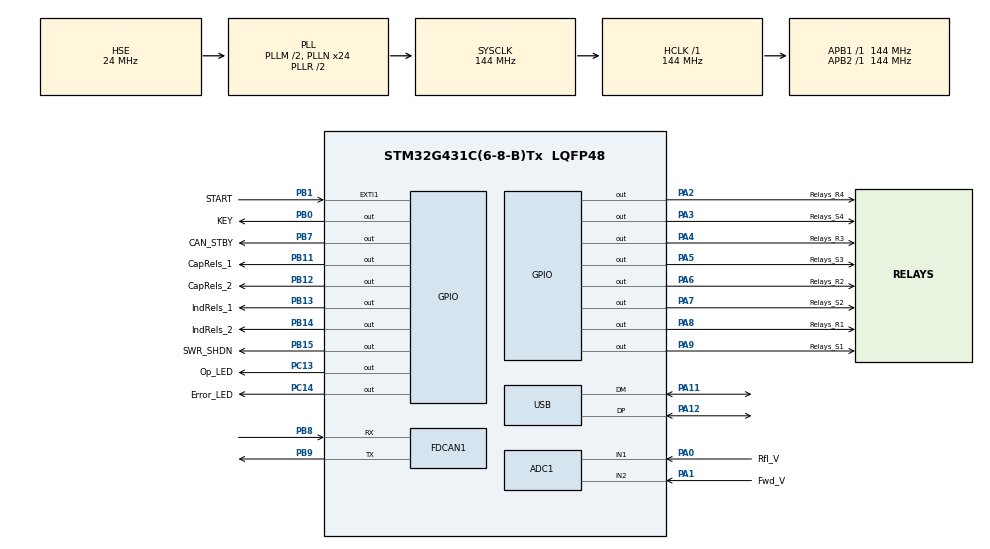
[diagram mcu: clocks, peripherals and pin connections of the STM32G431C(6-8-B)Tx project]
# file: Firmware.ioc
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ADC1.Channel-4\#ChannelRegularConversion=ADC_CHANNEL_VREFINT
ADC1.Channel-5\#ChannelRegularConversion=ADC_CHANNEL_1
ADC1.Channel-6\#ChannelRegularConversion=ADC_CHANNEL_2
ADC1.Channel-7\#ChannelRegularConversion=ADC_CHANNEL_TEMPSENSOR_ADC1
ADC1.ContinuousConvMode=DISABLE
ADC1.EOCSelection=ADC_EOC_SEQ_CONV
ADC1.EnableRegularConversion=ENABLE
ADC1.ExternalTrigConv=ADC_EXTERNALTRIG_T1_TRGO
ADC1.NbrOfConversion=4
ADC1.NbrOfConversionFlag=1
ADC1.OffsetNumber-4\#ChannelRegularConversion=ADC_OFFSET_NONE
ADC1.OffsetNumber-5\#ChannelRegularConversion=ADC_OFFSET_NONE
ADC1.OffsetNumber-6\#ChannelRegularConversion=ADC_OFFSET_NONE
ADC1.OffsetNumber-7\#ChannelRegularConversion=ADC_OFFSET_NONE
ADC1.OversamplingMode=ENABLE
ADC1.Rank-4\#ChannelRegularConversion=1
ADC1.Rank-5\#ChannelRegularConversion=2
ADC1.Rank-6\#ChannelRegularConversion=3
ADC1.Rank-7\#ChannelRegularConversion=4
ADC1.Ratio=ADC_OVERSAMPLING_RATIO_4
ADC1.SamplingTime-4\#ChannelRegularConversion=ADC_SAMPLETIME_2CYCLES_5
ADC1.SamplingTime-5\#ChannelRegularConversion=ADC_SAMPLETIME_2CYCLES_5
ADC1.SamplingTime-6\#ChannelRegularConversion=ADC_SAMPLETIME_2CYCLES_5
ADC1.SamplingTime-7\#ChannelRegularConversion=ADC_SAMPLETIME_2CYCLES_5
ADC1.master=1
Dma.ADC1.0.Direction=DMA_PERIPH_TO_MEMORY
Dma.ADC1.0.EventEnable=DISABLE
Dma.ADC1.0.Instance=DMA1_Channel1
Dma.ADC1.0.MemDataAlignment=DMA_MDATAALIGN_HALFWORD
Dma.ADC1.0.MemInc=DMA_MINC_ENABLE
Dma.ADC1.0.Mode=DMA_CIRCULAR
Dma.ADC1.0.PeriphDataAlignment=DMA_PDATAALIGN_HALFWORD
Dma.ADC1.0.PeriphInc=DMA_PINC_DISABLE
Dma.ADC1.0.Polarity=HAL_DMAMUX_REQ_GEN_RISING
Dma.ADC1.0.Priority=DMA_PRIORITY_LOW
Dma.ADC1.0.RequestNumber=1
Dma.ADC1.0.SignalID=NONE
Dma.ADC1.0.SyncEnable=DISABLE
Dma.ADC1.0.SyncPolarity=HAL_DMAMUX_SYNC_NO_EVENT
Dma.ADC1.0.SyncRequestNumber=1
Dma.ADC1.0.SyncSignalID=NONE
Dma.Request0=ADC1
FDCAN1.AutoRetransmission=ENABLE
FDCAN1.CalculateBaudRateNominal=500000
FDCAN1.CalculateTimeBitNominal=2000
FDCAN1.CalculateTimeQuantumNominal=62.5
FDCAN1.DataPrescaler=25
FDCAN1.DataTimeSeg1=2
FDCAN1.FrameFormat=FDCAN_FRAME_FD_NO_BRS
FDCAN1.NominalPrescaler=9
FDCAN1.NominalSyncJumpWidth=13
FDCAN1.NominalTimeSeg1=21
FDCAN1.NominalTimeSeg2=10
FDCAN1.StdFiltersNbr=1
FDCAN1.TxFifoQueueMode=FDCAN_TX_QUEUE_OPERATION
Mcu.Family=STM32G4
Mcu.Name=STM32G431C(6-8-B)Tx
Mcu.Package=LQFP48
NVIC.DMA1_Channel1_IRQn=true\:0\:0\:false\:false\:true\:false\:true\:true
NVIC.EXTI1_IRQn=true\:0\:0\:false\:false\:true\:true\:true\:true
NVIC.PriorityGroup=NVIC_PRIORITYGROUP_4
NVIC.USB_LP_IRQn=true\:0\:0\:false\:false\:true\:false\:true\:true
PA0.GPIO_Label=Rfl_V
PA0.Mode=IN1-Single-Ended
PA0.Signal=ADC1_IN1
PA1.GPIO_Label=Fwd_V
PA1.Mode=IN2-Single-Ended
PA1.Signal=ADC1_IN2
PA11.Mode=Device
PA11.Signal=USB_DM
PA12.Mode=Device
PA12.Signal=USB_DP
PA13.Mode=Trace_Asynchronous_SW
PA13.Signal=SYS_JTMS-SWDIO
PA14.Mode=Trace_Asynchronous_SW
PA14.Signal=SYS_JTCK-SWCLK
PA2.GPIO_Label=Relays_R4
PA2.GPIO_Speed=GPIO_SPEED_FREQ_LOW
PA2.Signal=GPIO_Output
PA3.GPIO_Label=Relays_S4
PA3.Signal=GPIO_Output
PA4.GPIO_Label=Relays_R3
PA4.Signal=GPIO_Output
PA5.GPIO_Label=Relays_S3
PA5.Signal=GPIO_Output
PA6.GPIO_Label=Relays_R2
PA6.Signal=GPIO_Output
PA7.GPIO_Label=Relays_S2
PA7.Signal=GPIO_Output
PA8.GPIO_Label=Relays_R1
PA8.Signal=GPIO_Output
PA9.GPIO_Label=Relays_S1
PA9.Signal=GPIO_Output
PB0.GPIO_Label=KEY
PB0.Signal=GPIO_Output
PB1.GPIO_Label=START
PB1.GPIO_ModeDefaultEXTI=GPIO_MODE_IT_FALLING
PB1.Signal=GPXTI1
PB11.GPIO_Label=CapRels_1
PB11.Signal=GPIO_Output
PB12.GPIO_Label=CapRels_2
PB12.Signal=GPIO_Output
PB13.GPIO_Label=IndRels_1
PB13.Signal=GPIO_Output
PB14.GPIO_Label=IndRels_2
PB14.Signal=GPIO_Output
PB15.GPIO_Label=SWR_SHDN
PB15.Signal=GPIO_Output
PB3.Mode=Trace_Asynchronous_SW
PB3.Signal=SYS_JTDO-SWO
PB7.GPIO_Label=CAN_STBY
PB7.Signal=GPIO_Output
PB8-BOOT0.Mode=FDCAN_Activate
PB8-BOOT0.Signal=FDCAN1_RX
PB9.Mode=FDCAN_Activate
PB9.Signal=FDCAN1_TX
PC13.GPIO_Label=Op_LED
PC13.Signal=GPIO_Output
PC14-OSC32_IN.GPIO_Label=Error_LED
PC14-OSC32_IN.Signal=GPIO_Output
PF0-OSC_IN.Mode=HSE-External-Oscillator
PF0-OSC_IN.Signal=RCC_OSC_IN
PF1-OSC_OUT.Mode=HSE-External-Oscillator
PF1-OSC_OUT.Signal=RCC_OSC_OUT
ProjectManager.HeapSize=0x200
ProjectManager.StackSize=0x400
ProjectManager.TargetToolchain=Makefile
RCC.ADC12Freq_Value=144000000
RCC.AHBFreq_Value=144000000
RCC.APB1Freq_Value=144000000
RCC.APB1TimFreq_Value=144000000
RCC.APB2Freq_Value=144000000
RCC.APB2TimFreq_Value=144000000
RCC.CortexFreq_Value=144000000
RCC.EXTERNAL_CLOCK_VALUE=12288000
RCC.HCLKFreq_Value=144000000
RCC.HSE_VALUE=24000000
RCC.HSI48_VALUE=48000000
RCC.HSI_VALUE=16000000
RCC.LSE_VALUE=32768
RCC.PLLM=RCC_PLLM_DIV2
RCC.PLLN=24
RCC.PLLQ=RCC_PLLQ_DIV6
RCC.PLLSourceVirtual=RCC_PLLSOURCE_HSE
RCC.SYSCLKFreq_VALUE=144000000
RCC.SYSCLKSource=RCC_SYSCLKSOURCE_PLLCLK
RCC.USBFreq_Value=48000000
RCC.VCOOutputFreq_Value=288000000
TIM1.AutoReloadPreload=TIM_AUTORELOAD_PRELOAD_ENABLE
TIM1.CounterMode=TIM_COUNTERMODE_DOWN
TIM1.PeriodNoDither=7200
TIM1.Prescaler=1000
TIM1.TIM_MasterOutputTrigger=TIM_TRGO_UPDATE
USB.Sof_enable=DISABLE
USB_DEVICE.CLASS_NAME_FS=CDC
USB_DEVICE.VirtualMode=Cdc
USB_DEVICE.VirtualModeFS=Cdc_FS
VP_ADC1_TempSens_Input.Mode=IN-TempSens
VP_ADC1_Vref_Input.Mode=IN-Vrefint
VP_CORDIC_VS_CORDIC.Mode=CORDIC_Activate
VP_FMAC_VS_FMAC.Mode=FMAC_Activate
VP_SYS_VS_DBSignals.Mode=DisableDeadBatterySignals
VP_SYS_V_VREFBUF.Mode=HoldMode
VP_TIM1_VS_ClockSourceINT.Mode=Internal
VP_USB_DEVICE_VS_USB_DEVICE_CDC_FS.Mode=CDC_FS
board=custom

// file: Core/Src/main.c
/* USER CODE BEGIN Header */
/**
  ******************************************************************************
  * @file           : main.c
  * @brief          : Main program body
  ******************************************************************************
  * @attention
  *
  * Copyright (c) 2024 STMicroelectronics.
  * All rights reserved.
  *
  * This software is licensed under terms that can be found in the LICENSE file
  * in the root directory of this software component.
  * If no LICENSE file comes with this software, it is provided AS-IS.
  *
  ******************************************************************************
  */
/* USER CODE END Header */
#include "main.h"
#include "usb_device.h"

/* USER CODE BEGIN Includes */
#include "usb_redirect.h"
#include "usbd_cdc_if.h"

#include "latching_relays.h"
#include "ltc5507.h"

/* USER CODE END Includes */

ADC_HandleTypeDef hadc1;
DMA_HandleTypeDef hdma_adc1;

CORDIC_HandleTypeDef hcordic;

FDCAN_HandleTypeDef hfdcan1;

FMAC_HandleTypeDef hfmac;

TIM_HandleTypeDef htim1;

/* USER CODE BEGIN PV */
relay_t Cap_InOut = {Relays_R1_GPIO_Port, CapRels_1_GPIO_Port, Relays_S1_Pin, Relays_R1_Pin, CapRels_1_Pin} ;

relay_t Cap_K402 = {Relays_R1_GPIO_Port, CapRels_1_GPIO_Port, Relays_S2_Pin, Relays_R2_Pin, CapRels_1_Pin} ;
relay_t Cap_K403 = {Relays_R1_GPIO_Port, CapRels_1_GPIO_Port, Relays_S3_Pin, Relays_R3_Pin, CapRels_1_Pin} ;
relay_t Cap_K404 = {Relays_R1_GPIO_Port, CapRels_1_GPIO_Port, Relays_S4_Pin, Relays_R4_Pin, CapRels_1_Pin} ;
relay_t Cap_K405 = {Relays_R1_GPIO_Port, CapRels_2_GPIO_Port, Relays_S1_Pin, Relays_R1_Pin, CapRels_2_Pin} ;
relay_t Cap_K406 = {Relays_R1_GPIO_Port, CapRels_2_GPIO_Port, Relays_S2_Pin, Relays_R2_Pin, CapRels_2_Pin} ;
relay_t Cap_K407 = {Relays_R1_GPIO_Port, CapRels_2_GPIO_Port, Relays_S3_Pin, Relays_R3_Pin, CapRels_2_Pin} ;
relay_t Cap_K408 = {Relays_R1_GPIO_Port, CapRels_2_GPIO_Port, Relays_S4_Pin, Relays_R4_Pin, CapRels_2_Pin} ;

relay_t Ind_K501 = {Relays_R1_GPIO_Port, IndRels_1_GPIO_Port, Relays_S1_Pin, Relays_R1_Pin, IndRels_1_Pin} ;
relay_t Ind_K502 = {Relays_R1_GPIO_Port, IndRels_1_GPIO_Port, Relays_S2_Pin, Relays_R2_Pin, IndRels_1_Pin} ;
relay_t Ind_K503 = {Relays_R1_GPIO_Port, IndRels_1_GPIO_Port, Relays_S3_Pin, Relays_R3_Pin, IndRels_1_Pin} ;
relay_t Ind_K504 = {Relays_R1_GPIO_Port, IndRels_1_GPIO_Port, Relays_S4_Pin, Relays_R4_Pin, IndRels_1_Pin} ;
relay_t Ind_K505 = {Relays_R1_GPIO_Port, IndRels_2_GPIO_Port, Relays_S1_Pin, Relays_R1_Pin, IndRels_2_Pin} ;
relay_t Ind_K506 = {Relays_R1_GPIO_Port, IndRels_2_GPIO_Port, Relays_S2_Pin, Relays_R2_Pin, IndRels_2_Pin} ;
relay_t Ind_K507 = {Relays_R1_GPIO_Port, IndRels_2_GPIO_Port, Relays_S3_Pin, Relays_R3_Pin, IndRels_2_Pin} ;

volatile uint16_t adc_data[4] ;

uint16_t rf_fwd_mv ;
uint16_t rf_rfl_mv ;
uint16_t ref_volt ;
uint16_t int_temp ;
/* USER CODE END PV */

void SystemClock_Config(void);
static void MX_GPIO_Init(void);
static void MX_DMA_Init(void);
static void MX_ADC1_Init(void);
static void MX_CORDIC_Init(void);
static void MX_FDCAN1_Init(void);
static void MX_FMAC_Init(void);
static void MX_TIM1_Init(void);

/* USER CODE BEGIN 0 */
uint8_t getActiveBank() {
    volatile uint32_t remap = READ_BIT(SYSCFG->MEMRMP, 0x1 << 8);
    return remap == 0 ? 1 : 2;
}

/* USER CODE END 0 */

int main(void)
{

  /* USER CODE BEGIN 1 */
  FDCAN_TxHeaderTypeDef can_header ;
  FDCAN_FilterTypeDef can_filter ;

  /* USER CODE END 1 */

  /* MCU Configuration--------------------------------------------------------*/

  /* Reset of all peripherals, Initializes the Flash interface and the Systick. */
  HAL_Init();

  /* Configure the system clock */
  SystemClock_Config();

  /* Initialize all configured peripherals */
  MX_GPIO_Init();
  MX_DMA_Init();
  MX_ADC1_Init();
  MX_CORDIC_Init();
  MX_FDCAN1_Init();
  MX_FMAC_Init();
  MX_USB_Device_Init();
  MX_TIM1_Init();
  /* USER CODE BEGIN 2 */

  HAL_ADCEx_Calibration_Start(&hadc1, ADC_SINGLE_ENDED) ;
  HAL_GPIO_WritePin(Op_LED_GPIO_Port, Op_LED_Pin, GPIO_PIN_RESET) ;
  HAL_GPIO_WritePin(Error_LED_GPIO_Port, Error_LED_Pin, GPIO_PIN_SET) ;

  // Turn off all relays signal
  GPIO_TypeDef * Relays_Port = Relays_R1_GPIO_Port ;
  uint16_t All_Relays = Relays_S1_Pin | Relays_R1_Pin | Relays_S2_Pin | Relays_S3_Pin | Relays_R3_Pin | Relays_S4_Pin | Relays_R4_Pin ;

  GPIO_TypeDef * Relays_Power_Port = IndRels_1_GPIO_Port ;
  uint16_t All_Power = IndRels_1_Pin | IndRels_2_Pin | CapRels_1_Pin | CapRels_2_Pin ;

  Relays_Port->BRR = All_Relays ;
  Relays_Power_Port->BRR = All_Power ;

  // Shutdown all devices
  HAL_GPIO_WritePin(SWR_SHDN_GPIO_Port, SWR_SHDN_Pin, GPIO_PIN_SET) ; // Shutdown SWR meter
  HAL_GPIO_WritePin(CAN_STBY_GPIO_Port, CAN_STBY_Pin, GPIO_PIN_RESET) ; // Shutdown CAN transceiver

  HAL_GPIO_WritePin(KEY_GPIO_Port, KEY_Pin, GPIO_PIN_RESET) ; // Disable KEY signal

  can_filter.IdType = FDCAN_STANDARD_ID ;
  can_filter.FilterIndex = 0 ;
  can_filter.FilterType = FDCAN_FILTER_MASK ;
  can_filter.FilterConfig = FDCAN_FILTER_TO_RXFIFO0 ;
  can_filter.FilterID1 = 0x11 ;
  can_filter.FilterID1 = 0x11 ;

  if(HAL_FDCAN_ConfigFilter(&hfdcan1, &can_filter) != HAL_OK) Error_Handler() ;

  uint32_t Caps[] = {12, 22, 47, 100, 220, 470, 100}  ; // pF
  uint32_t Inds[] = {505, 1000, 2200, 5000, 10000, 23000, 44700} ; // 0.1 nH

  /* USER CODE END 2 */

  /* Infinite loop */
  /* USER CODE BEGIN WHILE */
  HAL_Delay(500) ;
  printf("Turn off 'Err' LED\n") ;
  HAL_GPIO_WritePin(Error_LED_GPIO_Port, Error_LED_Pin, GPIO_PIN_RESET) ;
  uint8_t fw_bank = getActiveBank() ;
  printf("Current FW bank: %d", fw_bank) ;

  HAL_GPIO_WritePin(SWR_SHDN_GPIO_Port, SWR_SHDN_Pin, GPIO_PIN_RESET) ; // Enable SWR meter
  HAL_GPIO_WritePin(CAN_STBY_GPIO_Port, CAN_STBY_Pin, GPIO_PIN_SET) ; // Enable CAN transceiver

  // Start ADC cyclic conversion
  HAL_TIM_Base_Init(&htim1) ;
  HAL_ADC_Start_DMA(&hadc1, (uint32_t *) adc_data, 4) ;

  while (1)
  {
    /* USER CODE END WHILE */

  }
}

void SystemClock_Config(void)
{
  RCC_OscInitTypeDef RCC_OscInitStruct = {0};
  RCC_ClkInitTypeDef RCC_ClkInitStruct = {0};

  /** Configure the main internal regulator output voltage
  */
  HAL_PWREx_ControlVoltageScaling(PWR_REGULATOR_VOLTAGE_SCALE1);

  /** Initializes the RCC Oscillators according to the specified parameters
  * in the RCC_OscInitTypeDef structure.
  */
  RCC_OscInitStruct.OscillatorType = RCC_OSCILLATORTYPE_HSE;
  RCC_OscInitStruct.HSEState = RCC_HSE_ON;
  RCC_OscInitStruct.PLL.PLLState = RCC_PLL_ON;
  RCC_OscInitStruct.PLL.PLLSource = RCC_PLLSOURCE_HSE;
  RCC_OscInitStruct.PLL.PLLM = RCC_PLLM_DIV2;
  RCC_OscInitStruct.PLL.PLLN = 24;
  RCC_OscInitStruct.PLL.PLLP = RCC_PLLP_DIV2;
  RCC_OscInitStruct.PLL.PLLQ = RCC_PLLQ_DIV6;
  RCC_OscInitStruct.PLL.PLLR = RCC_PLLR_DIV2;
  if (HAL_RCC_OscConfig(&RCC_OscInitStruct) != HAL_OK)
  {
    Error_Handler();
  }

  /** Initializes the CPU, AHB and APB buses clocks
  */
  RCC_ClkInitStruct.ClockType = RCC_CLOCKTYPE_HCLK|RCC_CLOCKTYPE_SYSCLK
                              |RCC_CLOCKTYPE_PCLK1|RCC_CLOCKTYPE_PCLK2;
  RCC_ClkInitStruct.SYSCLKSource = RCC_SYSCLKSOURCE_PLLCLK;
  RCC_ClkInitStruct.AHBCLKDivider = RCC_SYSCLK_DIV1;
  RCC_ClkInitStruct.APB1CLKDivider = RCC_HCLK_DIV1;
  RCC_ClkInitStruct.APB2CLKDivider = RCC_HCLK_DIV1;

  if (HAL_RCC_ClockConfig(&RCC_ClkInitStruct, FLASH_LATENCY_4) != HAL_OK)
  {
    Error_Handler();
  }
}

static void MX_ADC1_Init(void)
{

  ADC_MultiModeTypeDef multimode = {0};
  ADC_ChannelConfTypeDef sConfig = {0};

  /** Common config
  */
  hadc1.Instance = ADC1;
  hadc1.Init.ClockPrescaler = ADC_CLOCK_SYNC_PCLK_DIV4;
  hadc1.Init.Resolution = ADC_RESOLUTION_12B;
  hadc1.Init.DataAlign = ADC_DATAALIGN_RIGHT;
  hadc1.Init.GainCompensation = 0;
  hadc1.Init.ScanConvMode = ADC_SCAN_ENABLE;
  hadc1.Init.EOCSelection = ADC_EOC_SEQ_CONV;
  hadc1.Init.LowPowerAutoWait = DISABLE;
  hadc1.Init.ContinuousConvMode = DISABLE;
  hadc1.Init.NbrOfConversion = 4;
  hadc1.Init.DiscontinuousConvMode = DISABLE;
  hadc1.Init.ExternalTrigConv = ADC_EXTERNALTRIG_T1_TRGO;
  hadc1.Init.ExternalTrigConvEdge = ADC_EXTERNALTRIGCONVEDGE_RISING;
  hadc1.Init.DMAContinuousRequests = DISABLE;
  hadc1.Init.Overrun = ADC_OVR_DATA_PRESERVED;
  hadc1.Init.OversamplingMode = ENABLE;
  hadc1.Init.Oversampling.Ratio = ADC_OVERSAMPLING_RATIO_4;
  hadc1.Init.Oversampling.RightBitShift = ADC_RIGHTBITSHIFT_NONE;
  hadc1.Init.Oversampling.TriggeredMode = ADC_TRIGGEREDMODE_SINGLE_TRIGGER;
  hadc1.Init.Oversampling.OversamplingStopReset = ADC_REGOVERSAMPLING_CONTINUED_MODE;
  if (HAL_ADC_Init(&hadc1) != HAL_OK)
  {
    Error_Handler();
  }

  /** Configure the ADC multi-mode
  */
  multimode.Mode = ADC_MODE_INDEPENDENT;
  if (HAL_ADCEx_MultiModeConfigChannel(&hadc1, &multimode) != HAL_OK)
  {
    Error_Handler();
  }

  /** Configure Regular Channel
  */
  sConfig.Channel = ADC_CHANNEL_VREFINT;
  sConfig.Rank = ADC_REGULAR_RANK_1;
  sConfig.SamplingTime = ADC_SAMPLETIME_2CYCLES_5;
  sConfig.SingleDiff = ADC_SINGLE_ENDED;
  sConfig.OffsetNumber = ADC_OFFSET_NONE;
  sConfig.Offset = 0;
  if (HAL_ADC_ConfigChannel(&hadc1, &sConfig) != HAL_OK)
  {
    Error_Handler();
  }

  /** Configure Regular Channel
  */
  sConfig.Channel = ADC_CHANNEL_1;
  sConfig.Rank = ADC_REGULAR_RANK_2;
  if (HAL_ADC_ConfigChannel(&hadc1, &sConfig) != HAL_OK)
  {
    Error_Handler();
  }

  /** Configure Regular Channel
  */
  sConfig.Channel = ADC_CHANNEL_2;
  sConfig.Rank = ADC_REGULAR_RANK_3;
  if (HAL_ADC_ConfigChannel(&hadc1, &sConfig) != HAL_OK)
  {
    Error_Handler();
  }

  /** Configure Regular Channel
  */
  sConfig.Channel = ADC_CHANNEL_TEMPSENSOR_ADC1;
  sConfig.Rank = ADC_REGULAR_RANK_4;
  if (HAL_ADC_ConfigChannel(&hadc1, &sConfig) != HAL_OK)
  {
    Error_Handler();
  }

}

static void MX_CORDIC_Init(void)
{

  hcordic.Instance = CORDIC;
  if (HAL_CORDIC_Init(&hcordic) != HAL_OK)
  {
    Error_Handler();
  }

}

static void MX_FDCAN1_Init(void)
{

  hfdcan1.Instance = FDCAN1;
  hfdcan1.Init.ClockDivider = FDCAN_CLOCK_DIV1;
  hfdcan1.Init.FrameFormat = FDCAN_FRAME_FD_NO_BRS;
  hfdcan1.Init.Mode = FDCAN_MODE_NORMAL;
  hfdcan1.Init.AutoRetransmission = ENABLE;
  hfdcan1.Init.TransmitPause = DISABLE;
  hfdcan1.Init.ProtocolException = DISABLE;
  hfdcan1.Init.NominalPrescaler = 9;
  hfdcan1.Init.NominalSyncJumpWidth = 13;
  hfdcan1.Init.NominalTimeSeg1 = 21;
  hfdcan1.Init.NominalTimeSeg2 = 10;
  hfdcan1.Init.DataPrescaler = 25;
  hfdcan1.Init.DataSyncJumpWidth = 1;
  hfdcan1.Init.DataTimeSeg1 = 2;
  hfdcan1.Init.DataTimeSeg2 = 1;
  hfdcan1.Init.StdFiltersNbr = 1;
  hfdcan1.Init.ExtFiltersNbr = 0;
  hfdcan1.Init.TxFifoQueueMode = FDCAN_TX_QUEUE_OPERATION;
  if (HAL_FDCAN_Init(&hfdcan1) != HAL_OK)
  {
    Error_Handler();
  }

}

static void MX_FMAC_Init(void)
{

  hfmac.Instance = FMAC;
  if (HAL_FMAC_Init(&hfmac) != HAL_OK)
  {
    Error_Handler();
  }

}

static void MX_TIM1_Init(void)
{

  TIM_ClockConfigTypeDef sClockSourceConfig = {0};
  TIM_MasterConfigTypeDef sMasterConfig = {0};

  htim1.Instance = TIM1;
  htim1.Init.Prescaler = 1000;
  htim1.Init.CounterMode = TIM_COUNTERMODE_DOWN;
  htim1.Init.Period = 7200;
  htim1.Init.ClockDivision = TIM_CLOCKDIVISION_DIV1;
  htim1.Init.RepetitionCounter = 0;
  htim1.Init.AutoReloadPreload = TIM_AUTORELOAD_PRELOAD_ENABLE;
  if (HAL_TIM_Base_Init(&htim1) != HAL_OK)
  {
    Error_Handler();
  }
  sClockSourceConfig.ClockSource = TIM_CLOCKSOURCE_INTERNAL;
  if (HAL_TIM_ConfigClockSource(&htim1, &sClockSourceConfig) != HAL_OK)
  {
    Error_Handler();
  }
  sMasterConfig.MasterOutputTrigger = TIM_TRGO_UPDATE;
  sMasterConfig.MasterOutputTrigger2 = TIM_TRGO2_RESET;
  sMasterConfig.MasterSlaveMode = TIM_MASTERSLAVEMODE_DISABLE;
  if (HAL_TIMEx_MasterConfigSynchronization(&htim1, &sMasterConfig) != HAL_OK)
  {
    Error_Handler();
  }

}

static void MX_DMA_Init(void)
{

  /* DMA controller clock enable */
  __HAL_RCC_DMAMUX1_CLK_ENABLE();
  __HAL_RCC_DMA1_CLK_ENABLE();

  /* DMA interrupt init */
  /* DMA1_Channel1_IRQn interrupt configuration */
  HAL_NVIC_SetPriority(DMA1_Channel1_IRQn, 0, 0);
  HAL_NVIC_EnableIRQ(DMA1_Channel1_IRQn);

}

static void MX_GPIO_Init(void)
{
  GPIO_InitTypeDef GPIO_InitStruct = {0};

  /* GPIO Ports Clock Enable */
  __HAL_RCC_GPIOC_CLK_ENABLE();
  __HAL_RCC_GPIOF_CLK_ENABLE();
  __HAL_RCC_GPIOG_CLK_ENABLE();
  __HAL_RCC_GPIOA_CLK_ENABLE();
  __HAL_RCC_GPIOB_CLK_ENABLE();

  /*Configure GPIO pin Output Level */
  HAL_GPIO_WritePin(GPIOC, Op_LED_Pin|Error_LED_Pin, GPIO_PIN_RESET);

  /*Configure GPIO pin Output Level */
  HAL_GPIO_WritePin(GPIOA, Relays_R4_Pin|Relays_S4_Pin|Relays_R3_Pin|Relays_S3_Pin
                          |Relays_R2_Pin|Relays_S2_Pin|Relays_R1_Pin|Relays_S1_Pin, GPIO_PIN_RESET);

  /*Configure GPIO pin Output Level */
  HAL_GPIO_WritePin(GPIOB, KEY_Pin|CapRels_1_Pin|CapRels_2_Pin|IndRels_1_Pin
                          |IndRels_2_Pin|SWR_SHDN_Pin|CAN_STBY_Pin, GPIO_PIN_RESET);

  /*Configure GPIO pins : Op_LED_Pin Error_LED_Pin */
  GPIO_InitStruct.Pin = Op_LED_Pin|Error_LED_Pin;
  GPIO_InitStruct.Mode = GPIO_MODE_OUTPUT_PP;
  GPIO_InitStruct.Pull = GPIO_NOPULL;
  GPIO_InitStruct.Speed = GPIO_SPEED_FREQ_LOW;
  HAL_GPIO_Init(GPIOC, &GPIO_InitStruct);

  /*Configure GPIO pin : PC15 */
  GPIO_InitStruct.Pin = GPIO_PIN_15;
  GPIO_InitStruct.Mode = GPIO_MODE_ANALOG;
  GPIO_InitStruct.Pull = GPIO_NOPULL;
  HAL_GPIO_Init(GPIOC, &GPIO_InitStruct);

  /*Configure GPIO pin : PG10 */
  GPIO_InitStruct.Pin = GPIO_PIN_10;
  GPIO_InitStruct.Mode = GPIO_MODE_ANALOG;
  GPIO_InitStruct.Pull = GPIO_NOPULL;
  HAL_GPIO_Init(GPIOG, &GPIO_InitStruct);

  /*Configure GPIO pins : Relays_R4_Pin Relays_S4_Pin Relays_R3_Pin Relays_S3_Pin
                           Relays_R2_Pin Relays_S2_Pin Relays_R1_Pin Relays_S1_Pin */
  GPIO_InitStruct.Pin = Relays_R4_Pin|Relays_S4_Pin|Relays_R3_Pin|Relays_S3_Pin
                          |Relays_R2_Pin|Relays_S2_Pin|Relays_R1_Pin|Relays_S1_Pin;
  GPIO_InitStruct.Mode = GPIO_MODE_OUTPUT_PP;
  GPIO_InitStruct.Pull = GPIO_NOPULL;
  GPIO_InitStruct.Speed = GPIO_SPEED_FREQ_LOW;
  HAL_GPIO_Init(GPIOA, &GPIO_InitStruct);

  /*Configure GPIO pins : KEY_Pin CapRels_1_Pin CapRels_2_Pin IndRels_1_Pin
                           IndRels_2_Pin SWR_SHDN_Pin CAN_STBY_Pin */
  GPIO_InitStruct.Pin = KEY_Pin|CapRels_1_Pin|CapRels_2_Pin|IndRels_1_Pin
                          |IndRels_2_Pin|SWR_SHDN_Pin|CAN_STBY_Pin;
  GPIO_InitStruct.Mode = GPIO_MODE_OUTPUT_PP;
  GPIO_InitStruct.Pull = GPIO_NOPULL;
  GPIO_InitStruct.Speed = GPIO_SPEED_FREQ_LOW;
  HAL_GPIO_Init(GPIOB, &GPIO_InitStruct);

  /*Configure GPIO pin : START_Pin */
  GPIO_InitStruct.Pin = START_Pin;
  GPIO_InitStruct.Mode = GPIO_MODE_IT_FALLING;
  GPIO_InitStruct.Pull = GPIO_NOPULL;
  HAL_GPIO_Init(START_GPIO_Port, &GPIO_InitStruct);

  /*Configure GPIO pins : PB2 PB10 PB4 PB5
                           PB6 */
  GPIO_InitStruct.Pin = GPIO_PIN_2|GPIO_PIN_10|GPIO_PIN_4|GPIO_PIN_5
                          |GPIO_PIN_6;
  GPIO_InitStruct.Mode = GPIO_MODE_ANALOG;
  GPIO_InitStruct.Pull = GPIO_NOPULL;
  HAL_GPIO_Init(GPIOB, &GPIO_InitStruct);

  /*Configure GPIO pins : PA10 PA15 */
  GPIO_InitStruct.Pin = GPIO_PIN_10|GPIO_PIN_15;
  GPIO_InitStruct.Mode = GPIO_MODE_ANALOG;
  GPIO_InitStruct.Pull = GPIO_NOPULL;
  HAL_GPIO_Init(GPIOA, &GPIO_InitStruct);

  /* EXTI interrupt init*/
  HAL_NVIC_SetPriority(EXTI1_IRQn, 0, 0);
  HAL_NVIC_EnableIRQ(EXTI1_IRQn);

}

void Error_Handler(void)
{
  /* USER CODE BEGIN Error_Handler_Debug */
  /* User can add his own implementation to report the HAL error return state */
  __disable_irq();

  // Turn on Error LED
  HAL_GPIO_WritePin(Error_LED_GPIO_Port, Error_LED_Pin, GPIO_PIN_SET) ;

  while (1)
  {
  }
  /* USER CODE END Error_Handler_Debug */
}
